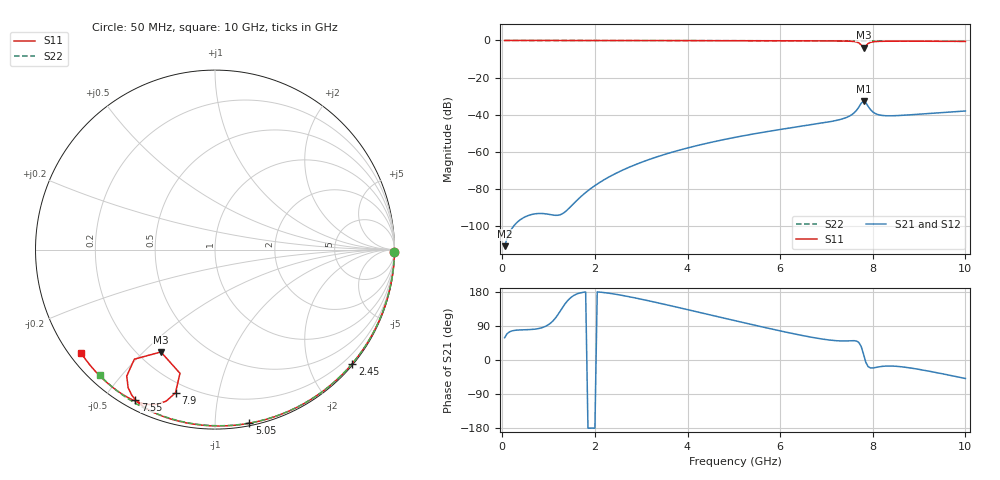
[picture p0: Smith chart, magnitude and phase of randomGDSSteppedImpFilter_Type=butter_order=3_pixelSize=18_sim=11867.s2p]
! freq	dB(S11)	phase(S11)	dB(S12)	phase(S12)
!  dB(S21)	phase(S21)	dB(S22)	phase(S22)
!S-par simulation data
#  GHz  S  DB  R 50
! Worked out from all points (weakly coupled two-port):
!   200 points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, 50 MHz to 10 GHz, reference 50 ohm
!   highest |S21| = -32.59 dB at 7.8 GHz (marker M1); lowest = -110.8 dB at 50 MHz (marker M2)
!   lowest |S11| = -3.8 dB at 7.8 GHz (marker M3), VSWR 4.63, Z = 14.5 - j28.3 ohm
!   |S11| at or under -10 dB: nowhere
!   |S22| runs from -0.4 to 0.0 dB; largest |S21 - S12| = 0
!   S11 on the Smith chart (normalised r, x): 50 MHz: open; 2.45 GHz: 0.03, -2.77; 5.05 GHz: 0.02, -1.22; 7.55 GHz: 0.04, -0.60; 7.9 GHz: 0.15, -0.75; 10 GHz: 0.03, -0.34
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0.05  -0.00 -0.8  -110.84 58.7  -110.84 58.7  -0.00 -0.8
0.9  -0.02 -14.8  -93.31 87.1  -93.31 87.1  -0.02 -13.7
1.75  -0.04 -28.6  -82.98 178.8  -82.98 178.8  -0.03 -26.4
1.9  -0.04 -31.0  -79.98 -179.7  -79.98 -179.7  -0.04 -28.6
2.45  -0.05 -39.7  -71.64 173.5  -71.64 173.5  -0.05 -36.7
2.85  -0.06 -46.0  -67.14 164.3  -67.14 164.3  -0.06 -42.4
3.4  -0.07 -54.4  -62.22 149.8  -62.22 149.8  -0.07 -50.3
4.15  -0.09 -65.7  -56.98 128.7  -56.98 128.7  -0.08 -60.7
5.05  -0.12 -78.8  -52.09 103.1  -52.09 103.1  -0.11 -72.7
6.7  -0.20 -102.2  -45.30 59.5  -45.30 59.5  -0.18 -93.7
7.3  -0.29 -111.9  -42.56 50.3  -42.56 50.3  -0.22 -101.1
7.55  -0.48 -118.0  -39.95 51.0  -39.95 51.0  -0.23 -104.0
7.7  -1.32 -124.9  -35.88 46.1  -35.88 46.1  -0.24 -105.8
7.75  -2.41 -126.4  -33.85 35.7  -33.85 35.7  -0.24 -106.4
7.8  -3.81 -117.8  -32.59 15.4  -32.59 15.4  -0.24 -107.0
7.85  -2.90 -105.8  -33.51 -6.1  -33.51 -6.1  -0.25 -107.6
7.9  -1.64 -105.4  -35.51 -17.4  -35.51 -17.4  -0.25 -108.2
7.95  -1.04 -107.8  -37.24 -21.0  -37.24 -21.0  -0.25 -108.8
8.05  -0.61 -112.0  -39.30 -20.1  -39.30 -20.1  -0.26 -110.0
8.35  -0.40 -119.0  -40.61 -15.8  -40.61 -15.8  -0.29 -113.5
9.05  -0.40 -129.6  -39.62 -25.8  -39.62 -25.8  -0.35 -121.6
10  -0.51 -142.3  -38.00 -48.8  -38.00 -48.8  -0.45 -132.5
